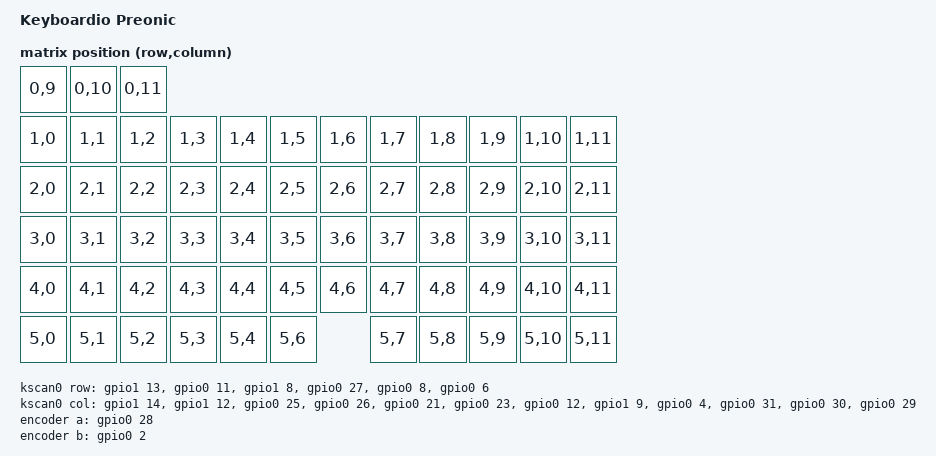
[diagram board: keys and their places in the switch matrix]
/dts-v1/;
#include <nordic/nrf52840_qiaa.dtsi>
#include <dt-bindings/zmk/matrix_transform.h>
#include <dt-bindings/zmk/keys.h>
#include <dt-bindings/gpio/gpio.h>
#include <dt-bindings/led/led.h>

/ {
	model = "Keyboardio Preonic";
	compatible = "keyboardio_preonic";

	chosen {
		zephyr,code-partition = &code_partition;
		zephyr,sram = &sram0;
		zephyr,flash = &flash0;
		zmk,kscan = &kscan0;
		zmk,matrix_transform = &mit_layout;
		zmk,underglow = &led_strip;
	};

	#define KRC(row, col) (((row) * 12) + (col))

	mit_layout: mit_layout {
		compatible = "zmk,matrix-transform";
		columns = <12>;
		rows = <6>;
		map = <
			KRC(0,9) KRC(0,10) KRC(0,11)
			KRC(1,0) KRC(1,1) KRC(1,2) KRC(1,3) KRC(1,4) KRC(1,5) KRC(1,6) KRC(1,7) KRC(1,8) KRC(1,9) KRC(1,10) KRC(1,11)
			KRC(2,0) KRC(2,1) KRC(2,2) KRC(2,3) KRC(2,4) KRC(2,5) KRC(2,6) KRC(2,7) KRC(2,8) KRC(2,9) KRC(2,10) KRC(2,11)
			KRC(3,0) KRC(3,1) KRC(3,2) KRC(3,3) KRC(3,4) KRC(3,5) KRC(3,6) KRC(3,7) KRC(3,8) KRC(3,9) KRC(3,10) KRC(3,11)
			KRC(4,0) KRC(4,1) KRC(4,2) KRC(4,3) KRC(4,4) KRC(4,5) KRC(4,6) KRC(4,7) KRC(4,8) KRC(4,9) KRC(4,10) KRC(4,11)
			KRC(5,0) KRC(5,1) KRC(5,2) KRC(5,3) KRC(5,4)     KRC(5,6)     KRC(5,7) KRC(5,8) KRC(5,9) KRC(5,10) KRC(5,11)
		>;
	};

	kscan0: kscan {
		compatible = "zmk,kscan-gpio-matrix";
		label = "KSCAN";
		diode-direction = "col2row";
		row-gpios
			= <&gpio1 13 (GPIO_ACTIVE_HIGH | GPIO_PULL_DOWN)>
			, <&gpio0 11 (GPIO_ACTIVE_HIGH | GPIO_PULL_DOWN)>
			, <&gpio1 8  (GPIO_ACTIVE_HIGH | GPIO_PULL_DOWN)>
			, <&gpio0 27 (GPIO_ACTIVE_HIGH | GPIO_PULL_DOWN)>
			, <&gpio0 8  (GPIO_ACTIVE_HIGH | GPIO_PULL_DOWN)>
			, <&gpio0 6  (GPIO_ACTIVE_HIGH | GPIO_PULL_DOWN)>
			;
		col-gpios
			= <&gpio1 14 GPIO_ACTIVE_HIGH>
			, <&gpio1 12 GPIO_ACTIVE_HIGH>
			, <&gpio0 25 GPIO_ACTIVE_HIGH>
			, <&gpio0 26 GPIO_ACTIVE_HIGH>
			, <&gpio0 21 GPIO_ACTIVE_HIGH>
			, <&gpio0 23 GPIO_ACTIVE_HIGH>
			, <&gpio0 12 GPIO_ACTIVE_HIGH>
			, <&gpio1 9  GPIO_ACTIVE_HIGH>
			, <&gpio0 4  GPIO_ACTIVE_HIGH>
			, <&gpio0 31 GPIO_ACTIVE_HIGH>
			, <&gpio0 30 GPIO_ACTIVE_HIGH>
			, <&gpio0 29 GPIO_ACTIVE_HIGH>
			;
	};

	encoder: encoder {
		compatible = "alps,ec11";
		a-gpios = <&gpio0 28 (GPIO_ACTIVE_HIGH | GPIO_PULL_UP)>;
		b-gpios = <&gpio0 2  (GPIO_ACTIVE_HIGH | GPIO_PULL_UP)>;
		steps = <80>;
		status = "okay";
	};

	sensors: sensors {
		compatible = "zmk,keymap-sensors";
		sensors = <&encoder>;
		triggers-per-rotation = <20>;
	};
};

&gpio0 {
	status = "okay";
};

&gpio1 {
	status = "okay";
	butterfly_power: ext_power_gpio {
		compatible = "zmk,ext-power-generic";
		status = "okay";
		control-gpios = <&gpio1 5 GPIO_ACTIVE_HIGH>;
	};
};

&spi3 {
	compatible = "nordic,nrf-spim";
	status = "okay";
	pinctrl-0 = <&spi3_default>;
	pinctrl-1 = <&spi3_sleep>;
	pinctrl-names = "default", "sleep";

	led_strip: ws2812@0 {
		compatible = "worldsemi,ws2812-spi";
		label = "SK6812";
		reg = <0>;
		spi-max-frequency = <4000000>;
		chain-length = <9>;
		spi-one-frame = <0x70>;
		spi-zero-frame = <0x40>;
		color-mapping = <LED_COLOR_ID_GREEN
				 LED_COLOR_ID_RED
				 LED_COLOR_ID_BLUE>;
	};
};

&pinctrl {
	spi3_default: spi3_default {
		group1 {
			psels = <NRF_PSEL(SPIM_MOSI, 0, 24)>;
		};
	};
	spi3_sleep: spi3_sleep {
		group1 {
			psels = <NRF_PSEL(SPIM_MOSI, 0, 24)>;
			low-power-enable;
		};
	};
};

&flash0 {
	partitions {
		compatible = "fixed-partitions";
		#address-cells = <1>;
		#size-cells = <1>;

		boot_partition: partition@0 {
			label = "mcuboot";
			reg = <0x00000000 0x00001000>;
		};
		code_partition: partition@1000 {
			label = "code_partition";
			reg = <0x00001000 0x000ec000>;
		};
		storage_partition: partition@ed000 {
			label = "storage";
			reg = <0x000ed000 0x00008000>;
		};
		bootloader_partition: partition@f5000 {
			label = "adafruit_boot";
			reg = <0x000f5000 0x0000b000>;
		};
	};
};

&gpiote {
	status = "okay";
};

&usbd {
	status = "okay";
	cdc_acm_uart: cdc_acm_uart {
		compatible = "zephyr,cdc-acm-uart";
		label = "CDC_ACM_0";
	};
};
